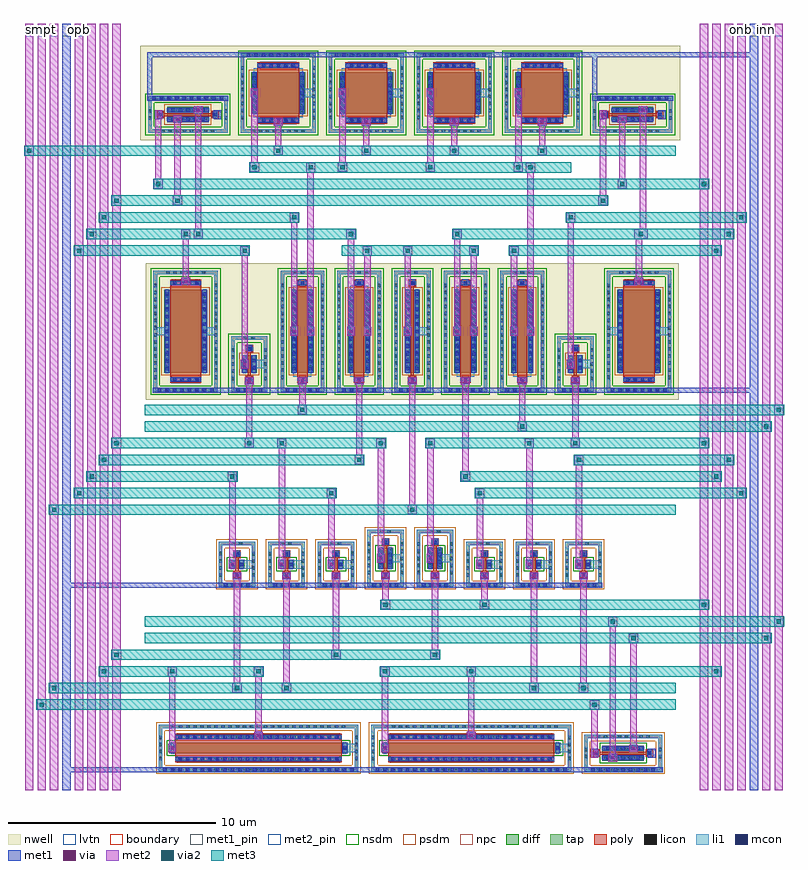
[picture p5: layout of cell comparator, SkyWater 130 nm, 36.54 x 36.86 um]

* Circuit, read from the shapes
.subckt comparator VDPWR VGND clkb inn inp onb opb pbias smpt
XM1 VGND sky130_fd_pr__nfet_01v8_4YP8T4_25/D sky130_fd_pr__nfet_01v8_4YP8T4_25/D VGND sky130_fd_pr__nfet_01v8 w=0.5 l=8
XM2 VGND clkb sky130_fd_pr__nfet_01v8_QX2MQS_21/D VGND sky130_fd_pr__nfet_01v8 w=0.42 l=0.15
XM3 VGND clkb sky130_fd_pr__nfet_01v8_PCU5CH_18/D VGND sky130_fd_pr__nfet_01v8 w=0.42 l=0.15
XM4 VGND sky130_fd_pr__nfet_01v8_PCU5CH_18/D opb VGND sky130_fd_pr__nfet_01v8 w=0.42 l=0.15
XM5 VGND sky130_fd_pr__nfet_01v8_PCU5CH_17/D sky130_fd_pr__nfet_01v8_PCU5CH_18/D VGND sky130_fd_pr__nfet_01v8 w=1 l=0.15
XM6 VGND sky130_fd_pr__nfet_01v8_4YP8T4_24/D sky130_fd_pr__nfet_01v8_4YP8T4_24/D VGND sky130_fd_pr__nfet_01v8 w=0.5 l=8
XM7 VGND sky130_fd_pr__nfet_01v8_PCU5CH_18/D sky130_fd_pr__nfet_01v8_PCU5CH_17/D VGND sky130_fd_pr__nfet_01v8 w=1 l=0.15
XM8 VGND sky130_fd_pr__nfet_01v8_PCU5CH_17/D onb VGND sky130_fd_pr__nfet_01v8 w=0.42 l=0.15
XM9 VGND clkb sky130_fd_pr__nfet_01v8_PCU5CH_17/D VGND sky130_fd_pr__nfet_01v8 w=0.42 l=0.15
XM10 VGND clkb sky130_fd_pr__nfet_01v8_QX2MQS_12/D VGND sky130_fd_pr__nfet_01v8 w=0.42 l=0.15
XM11 inn smpt inp VGND sky130_fd_pr__nfet_01v8 w=2 l=0.15
XM12 sky130_fd_pr__nfet_01v8_QX2MQS_21/D sky130_fd_pr__nfet_01v8_PCU5CH_17/D sky130_fd_pr__nfet_01v8_PCU5CH_18/D VDPWR sky130_fd_pr__pfet_01v8 w=2 l=0.15
XM13 VDPWR sky130_fd_pr__nfet_01v8_QX2MQS_21/D VDPWR VDPWR sky130_fd_pr__pfet_01v8 w=4 l=1.5
XM14 VDPWR sky130_fd_pr__nfet_01v8_PCU5CH_18/D opb VDPWR sky130_fd_pr__pfet_01v8 w=0.84 l=0.15
XM15 VDPWR pbias sky130_fd_pr__pfet_01v8_lvt_HD45KK_0/D VDPWR sky130_fd_pr__pfet_01v8_lvt w=2 l=2 m=4
XM16 sky130_fd_pr__pfet_01v8_lvt_HD45KK_0/D inp sky130_fd_pr__nfet_01v8_4YP8T4_25/D VDPWR sky130_fd_pr__pfet_01v8_lvt w=4 l=0.5
XM17 sky130_fd_pr__pfet_01v8_B6GLM9_16/D sky130_fd_pr__nfet_01v8_4YP8T4_25/D sky130_fd_pr__nfet_01v8_QX2MQS_21/D VDPWR sky130_fd_pr__pfet_01v8_lvt w=4 l=0.5
XM18 VDPWR clkb sky130_fd_pr__pfet_01v8_B6GLM9_16/D VDPWR sky130_fd_pr__pfet_01v8 w=4 l=0.15
XM19 sky130_fd_pr__pfet_01v8_B6GLM9_16/D sky130_fd_pr__nfet_01v8_4YP8T4_24/D sky130_fd_pr__nfet_01v8_QX2MQS_12/D VDPWR sky130_fd_pr__pfet_01v8_lvt w=4 l=0.5
XM20 sky130_fd_pr__pfet_01v8_lvt_HD45KK_0/D inn sky130_fd_pr__nfet_01v8_4YP8T4_24/D VDPWR sky130_fd_pr__pfet_01v8_lvt w=4 l=0.5
XM21 VDPWR sky130_fd_pr__nfet_01v8_PCU5CH_17/D onb VDPWR sky130_fd_pr__pfet_01v8 w=0.84 l=0.15
XM22 sky130_fd_pr__nfet_01v8_QX2MQS_12/D sky130_fd_pr__nfet_01v8_PCU5CH_18/D sky130_fd_pr__nfet_01v8_PCU5CH_17/D VDPWR sky130_fd_pr__pfet_01v8 w=2 l=0.15
XM23 VDPWR sky130_fd_pr__nfet_01v8_QX2MQS_12/D VDPWR VDPWR sky130_fd_pr__pfet_01v8 w=4 l=1.5
.ends

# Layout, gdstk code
from math import pi, radians
import gdstk
lib = gdstk.Library(unit=1e-6, precision=1e-09)
def R(c, l, rs):  # rectangles x0, y0, x1, y1
    for r in rs: c.add(gdstk.rectangle(r[:2], r[2:], *l))
def A(c, l, x, y, w, h, nx, ny, dx, dy):  # array of equal rectangles
    R(c, l, [(x+i*dx, y+j*dy, x+i*dx+w, y+j*dy+h) for i in range(nx) for j in range(ny)])
nwell = (64, 20)
diff = (65, 20)
tap = (65, 44)
poly = (66, 20)
licon = (66, 44)
li1 = (67, 20)
mcon = (67, 44)
met1_pin = (68, 16)
met1 = (68, 20)
via = (68, 44)
met2_pin = (69, 16)
met2 = (69, 20)
via2 = (69, 44)
met3 = (70, 20)
nsdm = (93, 44)
psdm = (94, 20)
npc = (95, 20)
lvtn = (125, 44)
boundary = (235, 4)

sky130_fd_pr__pfet_01v8_ = lib.new_cell('sky130_fd_pr__pfet_01v8_lvt_HD45KK')
R(sky130_fd_pr__pfet_01v8_, nwell, [(-1.98,-2.095,1.98,2.095)])
R(sky130_fd_pr__pfet_01v8_, diff, [(-1.29,-1,1.29,1)])
R(sky130_fd_pr__pfet_01v8_, tap, [(-1.8,-1.915,1.8,-1.745), (-1.8,-1.745,-1.63,1.745), (1.63,-1.745,1.8,1.745), (-1.8,1.745,1.8,1.915)])
R(sky130_fd_pr__pfet_01v8_, poly, [(-1,-1.485,1,1.485)])
A(sky130_fd_pr__pfet_01v8_, licon, -1.275, -1.915, 0.17, 0.17, 8, 2, 0.34, 3.66)
A(sky130_fd_pr__pfet_01v8_, licon, -0.765, -1.405, 0.17, 0.17, 5, 2, 0.34, 2.64)
A(sky130_fd_pr__pfet_01v8_, licon, -1.8, -1.275, 0.17, 0.17, 1, 8, 0, 0.34)
A(sky130_fd_pr__pfet_01v8_, licon, 1.63, -1.275, 0.17, 0.17, 1, 8, 0, 0.34)
A(sky130_fd_pr__pfet_01v8_, licon, -1.23, -0.935, 0.17, 0.17, 1, 6, 0, 0.34)
A(sky130_fd_pr__pfet_01v8_, licon, 1.06, -0.935, 0.17, 0.17, 1, 6, 0, 0.34)
R(sky130_fd_pr__pfet_01v8_, li1, [(-1.8,-1.915,1.8,-1.745), (-1.8,-1.745,-1.63,1.745), (1.63,-1.745,1.8,1.745), (-1,-1.405,1,-1.235), (-1.23,-1.02,-1.06,1.02), (1.06,-1.02,1.23,1.02), (-1,1.235,1,1.405), (-1.8,1.745,1.8,1.915)])
A(sky130_fd_pr__pfet_01v8_, mcon, -0.805, -1.405, 0.17, 0.17, 5, 2, 0.36, 2.64)
A(sky130_fd_pr__pfet_01v8_, mcon, -1.23, -0.805, 0.17, 0.17, 1, 5, 0, 0.36)
A(sky130_fd_pr__pfet_01v8_, mcon, 1.06, -0.805, 0.17, 0.17, 1, 5, 0, 0.36)
A(sky130_fd_pr__pfet_01v8_, mcon, -1.525, 1.745, 0.17, 0.17, 9, 1, 0.36, 0)
R(sky130_fd_pr__pfet_01v8_, met1, [(-0.98,-1.435,0.98,-1.205), (-1.26,-1,-1.03,1), (1.03,-1,1.26,1), (-0.98,1.205,0.98,1.435), (-1.69,1.715,1.69,1.945)])
R(sky130_fd_pr__pfet_01v8_, nsdm, [(-1.925,-2.04,1.925,-1.62), (-1.925,-1.62,-1.505,1.62), (1.505,-1.62,1.925,1.62), (-1.925,1.62,1.925,2.04)])
R(sky130_fd_pr__pfet_01v8_, psdm, [(-1.415,-1.125,1.415,1.125)])
R(sky130_fd_pr__pfet_01v8_, npc, [(-0.865,-1.505,0.865,-1.135), (-0.865,1.135,0.865,1.505)])
R(sky130_fd_pr__pfet_01v8_, lvtn, [(-1.18,-1.18,1.18,1.18)])
R(sky130_fd_pr__pfet_01v8_, boundary, [(-1.715,-1.83,1.715,1.83)])
sky130_fd_pr__pfet_01v8_.add(gdstk.Label('B', (0,-1.83), layer=67, texttype=5))
sky130_fd_pr__pfet_01v8_.add(gdstk.Label('D', (-1.145,0), layer=67, texttype=5))
sky130_fd_pr__pfet_01v8_.add(gdstk.Label('S', (1.145,0), layer=67, texttype=5))
sky130_fd_pr__pfet_01v8_.add(gdstk.Label('G', (0,1.32), layer=67, texttype=5))

c_sky130_fd_pr__pfet_01v8_ = lib.new_cell('sky130_fd_pr__pfet_01v8_3UF8Q8')
R(c_sky130_fd_pr__pfet_01v8_, nwell, [(-1.055,-2.095,1.055,2.095)])
R(c_sky130_fd_pr__pfet_01v8_, diff, [(-0.365,-1,0.365,1)])
R(c_sky130_fd_pr__pfet_01v8_, tap, [(-0.875,-1.915,0.875,-1.745), (-0.875,-1.745,-0.705,1.745), (0.705,-1.745,0.875,1.745), (-0.875,1.745,0.875,1.915)])
R(c_sky130_fd_pr__pfet_01v8_, poly, [(-0.165,-1.485,0.165,-1.155), (-0.075,-1.155,0.075,1.155), (-0.165,1.155,0.165,1.485)])
A(c_sky130_fd_pr__pfet_01v8_, licon, -0.875, -1.275, 0.17, 0.17, 1, 8, 0, 0.34)
A(c_sky130_fd_pr__pfet_01v8_, licon, 0.705, -1.275, 0.17, 0.17, 1, 8, 0, 0.34)
A(c_sky130_fd_pr__pfet_01v8_, licon, -0.305, -0.935, 0.17, 0.17, 1, 6, 0, 0.34)
A(c_sky130_fd_pr__pfet_01v8_, licon, 0.135, -0.935, 0.17, 0.17, 1, 6, 0, 0.34)
R(c_sky130_fd_pr__pfet_01v8_, licon, [(-0.255,-1.915,-0.085,-1.745), (0.085,-1.915,0.255,-1.745), (-0.085,-1.405,0.085,-1.235), (-0.085,1.235,0.085,1.405), (-0.255,1.745,-0.085,1.915), (0.085,1.745,0.255,1.915)])
R(c_sky130_fd_pr__pfet_01v8_, li1, [(-0.875,-1.915,0.875,-1.745), (-0.875,-1.745,-0.705,1.745), (0.705,-1.745,0.875,1.745), (-0.165,-1.405,0.165,-1.235), (-0.305,-1.02,-0.135,1.02), (0.135,-1.02,0.305,1.02), (-0.165,1.235,0.165,1.405), (-0.875,1.745,0.875,1.915)])
A(c_sky130_fd_pr__pfet_01v8_, mcon, 0.705, -1.705, 0.17, 0.17, 1, 10, 0, 0.36)
A(c_sky130_fd_pr__pfet_01v8_, mcon, -0.305, -0.805, 0.17, 0.17, 1, 5, 0, 0.36)
A(c_sky130_fd_pr__pfet_01v8_, mcon, 0.135, -0.805, 0.17, 0.17, 1, 5, 0, 0.36)
R(c_sky130_fd_pr__pfet_01v8_, mcon, [(-0.085,-1.405,0.085,-1.235), (-0.085,1.235,0.085,1.405)])
R(c_sky130_fd_pr__pfet_01v8_, met1, [(0.675,-1.805,0.905,1.805), (-0.145,-1.435,0.145,-1.205), (-0.335,-1,-0.105,1), (0.105,-1,0.335,1), (-0.145,1.205,0.145,1.435)])
R(c_sky130_fd_pr__pfet_01v8_, nsdm, [(-1,-2.04,1,-1.62), (-1,-1.62,-0.58,1.62), (0.58,-1.62,1,1.62), (-1,1.62,1,2.04)])
R(c_sky130_fd_pr__pfet_01v8_, psdm, [(-0.49,-1.125,0.49,1.125)])
R(c_sky130_fd_pr__pfet_01v8_, npc, [(-0.185,-1.505,0.185,-1.135), (-0.185,1.135,0.185,1.505)])
R(c_sky130_fd_pr__pfet_01v8_, boundary, [(-0.79,-1.83,0.79,1.83)])
c_sky130_fd_pr__pfet_01v8_.add(gdstk.Label('B', (0,-1.83), layer=67, texttype=5))
c_sky130_fd_pr__pfet_01v8_.add(gdstk.Label('D', (-0.22,0), layer=67, texttype=5))
c_sky130_fd_pr__pfet_01v8_.add(gdstk.Label('S', (0.22,0), layer=67, texttype=5))
c_sky130_fd_pr__pfet_01v8_.add(gdstk.Label('G', (0,1.32), layer=67, texttype=5))

c_sky130_fd_pr__pfet_01v8__ = lib.new_cell('sky130_fd_pr__pfet_01v8_lvt_QTCP4L')
R(c_sky130_fd_pr__pfet_01v8__, nwell, [(-1.23,-3.095,1.23,3.095)])
R(c_sky130_fd_pr__pfet_01v8__, diff, [(-0.54,-2,0.54,2)])
R(c_sky130_fd_pr__pfet_01v8__, tap, [(-1.05,-2.915,1.05,-2.745), (-1.05,-2.745,-0.88,2.745), (0.88,-2.745,1.05,2.745), (-1.05,2.745,1.05,2.915)])
R(c_sky130_fd_pr__pfet_01v8__, poly, [(-0.25,-2.485,0.25,2.485)])
A(c_sky130_fd_pr__pfet_01v8__, licon, -0.425, -2.915, 0.17, 0.17, 3, 2, 0.34, 5.66)
A(c_sky130_fd_pr__pfet_01v8__, licon, -1.05, -2.295, 0.17, 0.17, 1, 14, 0, 0.34)
A(c_sky130_fd_pr__pfet_01v8__, licon, 0.88, -2.295, 0.17, 0.17, 1, 14, 0, 0.34)
A(c_sky130_fd_pr__pfet_01v8__, licon, -0.48, -1.785, 0.17, 0.17, 1, 11, 0, 0.34)
A(c_sky130_fd_pr__pfet_01v8__, licon, 0.31, -1.785, 0.17, 0.17, 1, 11, 0, 0.34)
R(c_sky130_fd_pr__pfet_01v8__, licon, [(-0.085,-2.405,0.085,-2.235), (-0.085,2.235,0.085,2.405)])
R(c_sky130_fd_pr__pfet_01v8__, li1, [(-1.05,-2.915,1.05,-2.745), (-1.05,-2.745,-0.88,2.745), (0.88,-2.745,1.05,2.745), (-0.25,-2.405,0.25,-2.235), (-0.48,-2.02,-0.31,2.02), (0.31,-2.02,0.48,2.02), (-0.25,2.235,0.25,2.405), (-1.05,2.745,1.05,2.915)])
A(c_sky130_fd_pr__pfet_01v8__, mcon, -0.805, -2.915, 0.17, 0.17, 5, 1, 0.36, 0)
A(c_sky130_fd_pr__pfet_01v8__, mcon, -0.48, -1.885, 0.17, 0.17, 1, 11, 0, 0.36)
A(c_sky130_fd_pr__pfet_01v8__, mcon, 0.31, -1.885, 0.17, 0.17, 1, 11, 0, 0.36)
R(c_sky130_fd_pr__pfet_01v8__, mcon, [(-0.085,-2.405,0.085,-2.235), (-0.085,2.235,0.085,2.405)])
R(c_sky130_fd_pr__pfet_01v8__, met1, [(-0.94,-2.945,0.94,-2.715), (-0.23,-2.435,0.23,-2.205), (-0.51,-2,-0.28,2), (0.28,-2,0.51,2), (-0.23,2.205,0.23,2.435)])
R(c_sky130_fd_pr__pfet_01v8__, nsdm, [(-1.175,-3.04,1.175,-2.62), (-1.175,-2.62,-0.755,2.62), (0.755,-2.62,1.175,2.62), (-1.175,2.62,1.175,3.04)])
R(c_sky130_fd_pr__pfet_01v8__, psdm, [(-0.665,-2.125,0.665,2.125)])
R(c_sky130_fd_pr__pfet_01v8__, npc, [(-0.185,-2.505,0.185,-2.135), (-0.185,2.135,0.185,2.505)])
R(c_sky130_fd_pr__pfet_01v8__, lvtn, [(-0.43,-2.18,0.43,2.18)])
R(c_sky130_fd_pr__pfet_01v8__, boundary, [(-0.965,-2.83,0.965,2.83)])
c_sky130_fd_pr__pfet_01v8__.add(gdstk.Label('B', (0,-2.83), layer=67, texttype=5))
c_sky130_fd_pr__pfet_01v8__.add(gdstk.Label('D', (-0.395,0), layer=67, texttype=5))
c_sky130_fd_pr__pfet_01v8__.add(gdstk.Label('S', (0.395,0), layer=67, texttype=5))
c_sky130_fd_pr__pfet_01v8__.add(gdstk.Label('G', (0,2.32), layer=67, texttype=5))

c_sky130_fd_pr__pfet_01v8___ = lib.new_cell('sky130_fd_pr__pfet_01v8_GDFBW8')
R(c_sky130_fd_pr__pfet_01v8___, nwell, [(-1.055,-1.515,1.055,1.515)])
R(c_sky130_fd_pr__pfet_01v8___, diff, [(-0.365,-0.42,0.365,0.42)])
R(c_sky130_fd_pr__pfet_01v8___, tap, [(-0.875,-1.335,0.875,-1.165), (-0.875,-1.165,-0.705,1.165), (0.705,-1.165,0.875,1.165), (-0.875,1.165,0.875,1.335)])
R(c_sky130_fd_pr__pfet_01v8___, poly, [(-0.165,-0.905,0.165,-0.575), (-0.075,-0.575,0.075,0.575), (-0.165,0.575,0.165,0.905)])
A(c_sky130_fd_pr__pfet_01v8___, licon, -0.875, -0.765, 0.17, 0.17, 1, 5, 0, 0.34)
A(c_sky130_fd_pr__pfet_01v8___, licon, 0.705, -0.765, 0.17, 0.17, 1, 5, 0, 0.34)
R(c_sky130_fd_pr__pfet_01v8___, licon, [(-0.255,-1.335,-0.085,-1.165), (0.085,-1.335,0.255,-1.165), (-0.085,-0.825,0.085,-0.655), (-0.305,-0.255,-0.135,-0.085), (0.135,-0.255,0.305,-0.085), (-0.305,0.085,-0.135,0.255), (0.135,0.085,0.305,0.255), (-0.085,0.655,0.085,0.825), (-0.255,1.165,-0.085,1.335), (0.085,1.165,0.255,1.335)])
R(c_sky130_fd_pr__pfet_01v8___, li1, [(-0.875,-1.335,0.875,-1.165), (-0.875,-1.165,-0.705,1.165), (0.705,-1.165,0.875,1.165), (-0.165,-0.825,0.165,-0.655), (-0.305,-0.44,-0.135,0.44), (0.135,-0.44,0.305,0.44), (-0.165,0.655,0.165,0.825), (-0.875,1.165,0.875,1.335)])
A(c_sky130_fd_pr__pfet_01v8___, mcon, -0.625, -1.335, 0.17, 0.17, 4, 1, 0.36, 0)
R(c_sky130_fd_pr__pfet_01v8___, mcon, [(-0.085,-0.825,0.085,-0.655), (-0.305,-0.265,-0.135,-0.095), (0.135,-0.265,0.305,-0.095), (-0.305,0.095,-0.135,0.265), (0.135,0.095,0.305,0.265), (-0.085,0.655,0.085,0.825)])
R(c_sky130_fd_pr__pfet_01v8___, met1, [(-0.765,-1.365,0.765,-1.135), (-0.145,-0.855,0.145,-0.625), (-0.335,-0.42,-0.105,0.42), (0.105,-0.42,0.335,0.42), (-0.145,0.625,0.145,0.855)])
R(c_sky130_fd_pr__pfet_01v8___, nsdm, [(-1,-1.46,1,-1.04), (-1,-1.04,-0.58,1.04), (0.58,-1.04,1,1.04), (-1,1.04,1,1.46)])
R(c_sky130_fd_pr__pfet_01v8___, psdm, [(-0.49,-0.545,0.49,0.545)])
R(c_sky130_fd_pr__pfet_01v8___, npc, [(-0.185,-0.925,0.185,-0.555), (-0.185,0.555,0.185,0.925)])
R(c_sky130_fd_pr__pfet_01v8___, boundary, [(-0.79,-1.25,0.79,1.25)])
c_sky130_fd_pr__pfet_01v8___.add(gdstk.Label('B', (0,-1.25), layer=67, texttype=5))
c_sky130_fd_pr__pfet_01v8___.add(gdstk.Label('D', (-0.22,0), layer=67, texttype=5))
c_sky130_fd_pr__pfet_01v8___.add(gdstk.Label('S', (0.22,0), layer=67, texttype=5))
c_sky130_fd_pr__pfet_01v8___.add(gdstk.Label('G', (0,0.74), layer=67, texttype=5))

c_sky130_fd_pr__pfet_01v8____ = lib.new_cell('sky130_fd_pr__pfet_01v8_C364Q2')
R(c_sky130_fd_pr__pfet_01v8____, nwell, [(-1.73,-3.095,1.73,3.095)])
R(c_sky130_fd_pr__pfet_01v8____, diff, [(-1.04,-2,1.04,2)])
R(c_sky130_fd_pr__pfet_01v8____, tap, [(-1.55,-2.915,1.55,-2.745), (-1.55,-2.745,-1.38,2.745), (1.38,-2.745,1.55,2.745), (-1.55,2.745,1.55,2.915)])
R(c_sky130_fd_pr__pfet_01v8____, poly, [(-0.75,-2.485,0.75,2.485)])
A(c_sky130_fd_pr__pfet_01v8____, licon, -0.935, -2.915, 0.17, 0.17, 6, 2, 0.34, 5.66)
A(c_sky130_fd_pr__pfet_01v8____, licon, -0.595, -2.405, 0.17, 0.17, 4, 2, 0.34, 4.64)
A(c_sky130_fd_pr__pfet_01v8____, licon, -1.55, -2.295, 0.17, 0.17, 1, 14, 0, 0.34)
A(c_sky130_fd_pr__pfet_01v8____, licon, 1.38, -2.295, 0.17, 0.17, 1, 14, 0, 0.34)
A(c_sky130_fd_pr__pfet_01v8____, licon, -0.98, -1.785, 0.17, 0.17, 1, 11, 0, 0.34)
A(c_sky130_fd_pr__pfet_01v8____, licon, 0.81, -1.785, 0.17, 0.17, 1, 11, 0, 0.34)
R(c_sky130_fd_pr__pfet_01v8____, li1, [(-1.55,-2.915,1.55,-2.745), (-1.55,-2.745,-1.38,2.745), (1.38,-2.745,1.55,2.745), (-0.75,-2.405,0.75,-2.235), (-0.98,-2.02,-0.81,2.02), (0.81,-2.02,0.98,2.02), (-0.75,2.235,0.75,2.405), (-1.55,2.745,1.55,2.915)])
A(c_sky130_fd_pr__pfet_01v8____, mcon, -1.345, -2.915, 0.17, 0.17, 8, 1, 0.36, 0)
A(c_sky130_fd_pr__pfet_01v8____, mcon, -0.625, -2.405, 0.17, 0.17, 4, 2, 0.36, 4.64)
A(c_sky130_fd_pr__pfet_01v8____, mcon, -0.98, -1.885, 0.17, 0.17, 1, 11, 0, 0.36)
A(c_sky130_fd_pr__pfet_01v8____, mcon, 0.81, -1.885, 0.17, 0.17, 1, 11, 0, 0.36)
R(c_sky130_fd_pr__pfet_01v8____, met1, [(-1.44,-2.945,1.44,-2.715), (-0.73,-2.435,0.73,-2.205), (-1.01,-2,-0.78,2), (0.78,-2,1.01,2), (-0.73,2.205,0.73,2.435)])
R(c_sky130_fd_pr__pfet_01v8____, nsdm, [(-1.675,-3.04,1.675,-2.62), (-1.675,-2.62,-1.255,2.62), (1.255,-2.62,1.675,2.62), (-1.675,2.62,1.675,3.04)])
R(c_sky130_fd_pr__pfet_01v8____, psdm, [(-1.165,-2.125,1.165,2.125)])
R(c_sky130_fd_pr__pfet_01v8____, npc, [(-0.695,-2.505,0.695,-2.135), (-0.695,2.135,0.695,2.505)])
R(c_sky130_fd_pr__pfet_01v8____, boundary, [(-1.465,-2.83,1.465,2.83)])
c_sky130_fd_pr__pfet_01v8____.add(gdstk.Label('B', (0,-2.83), layer=67, texttype=5))
c_sky130_fd_pr__pfet_01v8____.add(gdstk.Label('D', (-0.895,0), layer=67, texttype=5))
c_sky130_fd_pr__pfet_01v8____.add(gdstk.Label('S', (0.895,0), layer=67, texttype=5))
c_sky130_fd_pr__pfet_01v8____.add(gdstk.Label('G', (0,2.32), layer=67, texttype=5))

sky130_fd_pr__nfet_01v8_ = lib.new_cell('sky130_fd_pr__nfet_01v8_QX2MQS')
R(sky130_fd_pr__nfet_01v8_, diff, [(-0.365,-0.21,0.365,0.21)])
R(sky130_fd_pr__nfet_01v8_, tap, [(-0.875,-1.08,0.875,-0.91), (-0.875,-0.91,-0.705,0.91), (0.705,-0.91,0.875,0.91), (-0.875,0.91,0.875,1.08)])
R(sky130_fd_pr__nfet_01v8_, poly, [(-0.165,-0.65,0.165,-0.32), (-0.075,-0.32,0.075,0.32), (-0.165,0.32,0.165,0.65)])
A(sky130_fd_pr__nfet_01v8_, licon, -0.875, -0.595, 0.17, 0.17, 1, 4, 0, 0.34)
A(sky130_fd_pr__nfet_01v8_, licon, 0.705, -0.595, 0.17, 0.17, 1, 4, 0, 0.34)
R(sky130_fd_pr__nfet_01v8_, licon, [(-0.255,-1.08,-0.085,-0.91), (0.085,-1.08,0.255,-0.91), (-0.085,-0.57,0.085,-0.4), (-0.305,-0.085,-0.135,0.085), (0.135,-0.085,0.305,0.085), (-0.085,0.4,0.085,0.57), (-0.255,0.91,-0.085,1.08), (0.085,0.91,0.255,1.08)])
R(sky130_fd_pr__nfet_01v8_, li1, [(-0.875,-1.08,0.875,-0.91), (-0.875,-0.91,-0.705,0.91), (0.705,-0.91,0.875,0.91), (-0.165,-0.57,0.165,-0.4), (-0.305,-0.23,-0.135,0.23), (0.135,-0.23,0.305,0.23), (-0.165,0.4,0.165,0.57), (-0.875,0.91,0.875,1.08)])
A(sky130_fd_pr__nfet_01v8_, mcon, -0.625, -1.08, 0.17, 0.17, 4, 1, 0.36, 0)
R(sky130_fd_pr__nfet_01v8_, mcon, [(-0.085,-0.57,0.085,-0.4), (-0.305,-0.085,-0.135,0.085), (0.135,-0.085,0.305,0.085), (-0.085,0.4,0.085,0.57)])
R(sky130_fd_pr__nfet_01v8_, met1, [(-0.765,-1.11,0.765,-0.88), (-0.145,-0.6,0.145,-0.37), (-0.335,-0.21,-0.105,0.21), (0.105,-0.21,0.335,0.21), (-0.145,0.37,0.145,0.6)])
R(sky130_fd_pr__nfet_01v8_, nsdm, [(-0.49,-0.335,0.49,0.335)])
R(sky130_fd_pr__nfet_01v8_, psdm, [(-1,-1.205,1,-0.785), (-1,-0.785,-0.58,0.785), (0.58,-0.785,1,0.785), (-1,0.785,1,1.205)])
R(sky130_fd_pr__nfet_01v8_, npc, [(-0.185,-0.67,0.185,-0.3), (-0.185,0.3,0.185,0.67)])
R(sky130_fd_pr__nfet_01v8_, boundary, [(-0.79,-0.995,0.79,0.995)])
sky130_fd_pr__nfet_01v8_.add(gdstk.Label('B', (0,-0.995), layer=67, texttype=5))
sky130_fd_pr__nfet_01v8_.add(gdstk.Label('D', (-0.22,0), layer=67, texttype=5))
sky130_fd_pr__nfet_01v8_.add(gdstk.Label('S', (0.22,0), layer=67, texttype=5))
sky130_fd_pr__nfet_01v8_.add(gdstk.Label('G', (0,0.485), layer=67, texttype=5))

c_sky130_fd_pr__pfet_01v8_____ = lib.new_cell('sky130_fd_pr__pfet_01v8_B6GLM9')
R(c_sky130_fd_pr__pfet_01v8_____, nwell, [(-1.055,-3.095,1.055,3.095)])
R(c_sky130_fd_pr__pfet_01v8_____, diff, [(-0.365,-2,0.365,2)])
R(c_sky130_fd_pr__pfet_01v8_____, tap, [(-0.875,-2.915,0.875,-2.745), (-0.875,-2.745,-0.705,2.745), (0.705,-2.745,0.875,2.745), (-0.875,2.745,0.875,2.915)])
R(c_sky130_fd_pr__pfet_01v8_____, poly, [(-0.165,-2.485,0.165,-2.155), (-0.075,-2.155,0.075,2.155), (-0.165,2.155,0.165,2.485)])
A(c_sky130_fd_pr__pfet_01v8_____, licon, -0.875, -2.295, 0.17, 0.17, 1, 14, 0, 0.34)
A(c_sky130_fd_pr__pfet_01v8_____, licon, 0.705, -2.295, 0.17, 0.17, 1, 14, 0, 0.34)
A(c_sky130_fd_pr__pfet_01v8_____, licon, -0.305, -1.785, 0.17, 0.17, 1, 11, 0, 0.34)
A(c_sky130_fd_pr__pfet_01v8_____, licon, 0.135, -1.785, 0.17, 0.17, 1, 11, 0, 0.34)
R(c_sky130_fd_pr__pfet_01v8_____, licon, [(-0.255,-2.915,-0.085,-2.745), (0.085,-2.915,0.255,-2.745), (-0.085,-2.405,0.085,-2.235), (-0.085,2.235,0.085,2.405), (-0.255,2.745,-0.085,2.915), (0.085,2.745,0.255,2.915)])
R(c_sky130_fd_pr__pfet_01v8_____, li1, [(-0.875,-2.915,0.875,-2.745), (-0.875,-2.745,-0.705,2.745), (0.705,-2.745,0.875,2.745), (-0.165,-2.405,0.165,-2.235), (-0.305,-2.02,-0.135,2.02), (0.135,-2.02,0.305,2.02), (-0.165,2.235,0.165,2.405), (-0.875,2.745,0.875,2.915)])
A(c_sky130_fd_pr__pfet_01v8_____, mcon, -0.625, -2.915, 0.17, 0.17, 4, 1, 0.36, 0)
A(c_sky130_fd_pr__pfet_01v8_____, mcon, -0.305, -1.885, 0.17, 0.17, 1, 11, 0, 0.36)
A(c_sky130_fd_pr__pfet_01v8_____, mcon, 0.135, -1.885, 0.17, 0.17, 1, 11, 0, 0.36)
R(c_sky130_fd_pr__pfet_01v8_____, mcon, [(-0.085,-2.405,0.085,-2.235), (-0.085,2.235,0.085,2.405)])
R(c_sky130_fd_pr__pfet_01v8_____, met1, [(-0.765,-2.945,0.765,-2.715), (-0.145,-2.435,0.145,-2.205), (-0.335,-2,-0.105,2), (0.105,-2,0.335,2), (-0.145,2.205,0.145,2.435)])
R(c_sky130_fd_pr__pfet_01v8_____, nsdm, [(-1,-3.04,1,-2.62), (-1,-2.62,-0.58,2.62), (0.58,-2.62,1,2.62), (-1,2.62,1,3.04)])
R(c_sky130_fd_pr__pfet_01v8_____, psdm, [(-0.49,-2.125,0.49,2.125)])
R(c_sky130_fd_pr__pfet_01v8_____, npc, [(-0.185,-2.505,0.185,-2.135), (-0.185,2.135,0.185,2.505)])
R(c_sky130_fd_pr__pfet_01v8_____, boundary, [(-0.79,-2.83,0.79,2.83)])
c_sky130_fd_pr__pfet_01v8_____.add(gdstk.Label('B', (0,-2.83), layer=67, texttype=5))
c_sky130_fd_pr__pfet_01v8_____.add(gdstk.Label('D', (-0.22,0), layer=67, texttype=5))
c_sky130_fd_pr__pfet_01v8_____.add(gdstk.Label('S', (0.22,0), layer=67, texttype=5))
c_sky130_fd_pr__pfet_01v8_____.add(gdstk.Label('G', (0,2.32), layer=67, texttype=5))

c_sky130_fd_pr__nfet_01v8_ = lib.new_cell('sky130_fd_pr__nfet_01v8_PCU5CH')
R(c_sky130_fd_pr__nfet_01v8_, diff, [(-0.365,-0.5,0.365,0.5)])
R(c_sky130_fd_pr__nfet_01v8_, tap, [(-0.875,-1.37,0.875,-1.2), (-0.875,-1.2,-0.705,1.2), (0.705,-1.2,0.875,1.2), (-0.875,1.2,0.875,1.37)])
R(c_sky130_fd_pr__nfet_01v8_, poly, [(-0.165,-0.94,0.165,-0.61), (-0.075,-0.61,0.075,0.61), (-0.165,0.61,0.165,0.94)])
A(c_sky130_fd_pr__nfet_01v8_, licon, -0.875, -0.765, 0.17, 0.17, 1, 5, 0, 0.34)
A(c_sky130_fd_pr__nfet_01v8_, licon, 0.705, -0.765, 0.17, 0.17, 1, 5, 0, 0.34)
A(c_sky130_fd_pr__nfet_01v8_, licon, -0.305, -0.425, 0.17, 0.17, 1, 3, 0, 0.34)
A(c_sky130_fd_pr__nfet_01v8_, licon, 0.135, -0.425, 0.17, 0.17, 1, 3, 0, 0.34)
R(c_sky130_fd_pr__nfet_01v8_, licon, [(-0.255,-1.37,-0.085,-1.2), (0.085,-1.37,0.255,-1.2), (-0.085,-0.86,0.085,-0.69), (-0.085,0.69,0.085,0.86), (-0.255,1.2,-0.085,1.37), (0.085,1.2,0.255,1.37)])
R(c_sky130_fd_pr__nfet_01v8_, li1, [(-0.875,-1.37,0.875,-1.2), (-0.875,-1.2,-0.705,1.2), (0.705,-1.2,0.875,1.2), (-0.165,-0.86,0.165,-0.69), (-0.305,-0.52,-0.135,0.52), (0.135,-0.52,0.305,0.52), (-0.165,0.69,0.165,0.86), (-0.875,1.2,0.875,1.37)])
A(c_sky130_fd_pr__nfet_01v8_, mcon, -0.625, -1.37, 0.17, 0.17, 4, 1, 0.36, 0)
R(c_sky130_fd_pr__nfet_01v8_, mcon, [(-0.085,-0.86,0.085,-0.69), (-0.305,-0.265,-0.135,-0.095), (0.135,-0.265,0.305,-0.095), (-0.305,0.095,-0.135,0.265), (0.135,0.095,0.305,0.265), (-0.085,0.69,0.085,0.86)])
R(c_sky130_fd_pr__nfet_01v8_, met1, [(-0.765,-1.4,0.765,-1.17), (-0.145,-0.89,0.145,-0.66), (-0.335,-0.5,-0.105,0.5), (0.105,-0.5,0.335,0.5), (-0.145,0.66,0.145,0.89)])
R(c_sky130_fd_pr__nfet_01v8_, nsdm, [(-0.49,-0.625,0.49,0.625)])
R(c_sky130_fd_pr__nfet_01v8_, psdm, [(-1,-1.495,1,-1.075), (-1,-1.075,-0.58,1.075), (0.58,-1.075,1,1.075), (-1,1.075,1,1.495)])
R(c_sky130_fd_pr__nfet_01v8_, npc, [(-0.185,-0.96,0.185,-0.59), (-0.185,0.59,0.185,0.96)])
R(c_sky130_fd_pr__nfet_01v8_, boundary, [(-0.79,-1.285,0.79,1.285)])
c_sky130_fd_pr__nfet_01v8_.add(gdstk.Label('B', (0,-1.285), layer=67, texttype=5))
c_sky130_fd_pr__nfet_01v8_.add(gdstk.Label('D', (-0.22,0), layer=67, texttype=5))
c_sky130_fd_pr__nfet_01v8_.add(gdstk.Label('S', (0.22,0), layer=67, texttype=5))
c_sky130_fd_pr__nfet_01v8_.add(gdstk.Label('G', (0,0.775), layer=67, texttype=5))

c_sky130_fd_pr__nfet_01v8__ = lib.new_cell('sky130_fd_pr__nfet_01v8_QR6K5J')
R(c_sky130_fd_pr__nfet_01v8__, diff, [(-0.365,-1,0.365,1)])
R(c_sky130_fd_pr__nfet_01v8__, tap, [(-0.875,-1.87,0.875,-1.7), (-0.875,-1.7,-0.705,1.7), (0.705,-1.7,0.875,1.7), (-0.875,1.7,0.875,1.87)])
R(c_sky130_fd_pr__nfet_01v8__, poly, [(-0.165,-1.44,0.165,-1.11), (-0.075,-1.11,0.075,1.11), (-0.165,1.11,0.165,1.44)])
A(c_sky130_fd_pr__nfet_01v8__, licon, -0.875, -1.275, 0.17, 0.17, 1, 8, 0, 0.34)
A(c_sky130_fd_pr__nfet_01v8__, licon, 0.705, -1.275, 0.17, 0.17, 1, 8, 0, 0.34)
A(c_sky130_fd_pr__nfet_01v8__, licon, -0.305, -0.935, 0.17, 0.17, 1, 6, 0, 0.34)
A(c_sky130_fd_pr__nfet_01v8__, licon, 0.135, -0.935, 0.17, 0.17, 1, 6, 0, 0.34)
R(c_sky130_fd_pr__nfet_01v8__, licon, [(-0.255,-1.87,-0.085,-1.7), (0.085,-1.87,0.255,-1.7), (-0.085,-1.36,0.085,-1.19), (-0.085,1.19,0.085,1.36), (-0.255,1.7,-0.085,1.87), (0.085,1.7,0.255,1.87)])
R(c_sky130_fd_pr__nfet_01v8__, li1, [(-0.875,-1.87,0.875,-1.7), (-0.875,-1.7,-0.705,1.7), (0.705,-1.7,0.875,1.7), (-0.165,-1.36,0.165,-1.19), (-0.305,-1.02,-0.135,1.02), (0.135,-1.02,0.305,1.02), (-0.165,1.19,0.165,1.36), (-0.875,1.7,0.875,1.87)])
A(c_sky130_fd_pr__nfet_01v8__, mcon, -0.875, -1.525, 0.17, 0.17, 1, 9, 0, 0.36)
A(c_sky130_fd_pr__nfet_01v8__, mcon, -0.305, -0.805, 0.17, 0.17, 1, 5, 0, 0.36)
A(c_sky130_fd_pr__nfet_01v8__, mcon, 0.135, -0.805, 0.17, 0.17, 1, 5, 0, 0.36)
R(c_sky130_fd_pr__nfet_01v8__, mcon, [(-0.085,-1.36,0.085,-1.19), (-0.085,1.19,0.085,1.36)])
R(c_sky130_fd_pr__nfet_01v8__, met1, [(-0.905,-1.76,-0.675,1.76), (-0.145,-1.39,0.145,-1.16), (-0.335,-1,-0.105,1), (0.105,-1,0.335,1), (-0.145,1.16,0.145,1.39)])
R(c_sky130_fd_pr__nfet_01v8__, nsdm, [(-0.49,-1.125,0.49,1.125)])
R(c_sky130_fd_pr__nfet_01v8__, psdm, [(-1,-1.995,1,-1.575), (-1,-1.575,-0.58,1.575), (0.58,-1.575,1,1.575), (-1,1.575,1,1.995)])
R(c_sky130_fd_pr__nfet_01v8__, npc, [(-0.185,-1.46,0.185,-1.09), (-0.185,1.09,0.185,1.46)])
R(c_sky130_fd_pr__nfet_01v8__, boundary, [(-0.79,-1.785,0.79,1.785)])
c_sky130_fd_pr__nfet_01v8__.add(gdstk.Label('B', (0,-1.785), layer=67, texttype=5))
c_sky130_fd_pr__nfet_01v8__.add(gdstk.Label('D', (-0.22,0), layer=67, texttype=5))
c_sky130_fd_pr__nfet_01v8__.add(gdstk.Label('S', (0.22,0), layer=67, texttype=5))
c_sky130_fd_pr__nfet_01v8__.add(gdstk.Label('G', (0,1.275), layer=67, texttype=5))

c_sky130_fd_pr__nfet_01v8___ = lib.new_cell('sky130_fd_pr__nfet_01v8_4YP8T4')
R(c_sky130_fd_pr__nfet_01v8___, diff, [(-4.29,-0.25,4.29,0.25)])
R(c_sky130_fd_pr__nfet_01v8___, tap, [(-4.8,-1.12,4.8,-0.95), (-4.8,-0.95,-4.63,0.95), (4.63,-0.95,4.8,0.95), (-4.8,0.95,4.8,1.12)])
R(c_sky130_fd_pr__nfet_01v8___, poly, [(-4,-0.69,4,0.69)])
A(c_sky130_fd_pr__nfet_01v8___, licon, -4.165, -1.12, 0.17, 0.17, 25, 2, 0.34, 2.07)
A(c_sky130_fd_pr__nfet_01v8___, licon, -3.825, -0.61, 0.17, 0.17, 23, 2, 0.34, 1.05)
A(c_sky130_fd_pr__nfet_01v8___, licon, -4.8, -0.595, 0.17, 0.17, 1, 4, 0, 0.34)
A(c_sky130_fd_pr__nfet_01v8___, licon, 4.63, -0.595, 0.17, 0.17, 1, 4, 0, 0.34)
R(c_sky130_fd_pr__nfet_01v8___, licon, [(-4.23,-0.085,-4.06,0.085), (4.06,-0.085,4.23,0.085)])
R(c_sky130_fd_pr__nfet_01v8___, li1, [(-4.8,-1.12,4.8,-0.95), (-4.8,-0.95,-4.63,0.95), (4.63,-0.95,4.8,0.95), (-4,-0.61,4,-0.44), (-4.23,-0.27,-4.06,0.27), (4.06,-0.27,4.23,0.27), (-4,0.44,4,0.61), (-4.8,0.95,4.8,1.12)])
A(c_sky130_fd_pr__nfet_01v8___, mcon, -4.585, -1.12, 0.17, 0.17, 26, 1, 0.36, 0)
A(c_sky130_fd_pr__nfet_01v8___, mcon, -3.865, -0.61, 0.17, 0.17, 22, 2, 0.36, 1.05)
R(c_sky130_fd_pr__nfet_01v8___, mcon, [(-4.23,-0.085,-4.06,0.085), (4.06,-0.085,4.23,0.085)])
R(c_sky130_fd_pr__nfet_01v8___, met1, [(-4.69,-1.15,4.69,-0.92), (-3.98,-0.64,3.98,-0.41), (-4.26,-0.25,-4.03,0.25), (4.03,-0.25,4.26,0.25), (-3.98,0.41,3.98,0.64)])
R(c_sky130_fd_pr__nfet_01v8___, nsdm, [(-4.415,-0.375,4.415,0.375)])
R(c_sky130_fd_pr__nfet_01v8___, psdm, [(-4.925,-1.245,4.925,-0.825), (-4.925,-0.825,-4.505,0.825), (4.505,-0.825,4.925,0.825), (-4.925,0.825,4.925,1.245)])
R(c_sky130_fd_pr__nfet_01v8___, npc, [(-3.925,-0.71,3.925,-0.34), (-3.925,0.34,3.925,0.71)])
R(c_sky130_fd_pr__nfet_01v8___, boundary, [(-4.715,-1.035,4.715,1.035)])
c_sky130_fd_pr__nfet_01v8___.add(gdstk.Label('B', (0,-1.035), layer=67, texttype=5))
c_sky130_fd_pr__nfet_01v8___.add(gdstk.Label('D', (-4.145,0), layer=67, texttype=5))
c_sky130_fd_pr__nfet_01v8___.add(gdstk.Label('S', (4.145,0), layer=67, texttype=5))
c_sky130_fd_pr__nfet_01v8___.add(gdstk.Label('G', (0,0.525), layer=67, texttype=5))

comparator = lib.new_cell('comparator')
R(comparator, nwell, [(-0.19,17.79,25.43,24.35), (-0.45,30.25,25.49,34.81)])
A(comparator, li1, 4.325, 9.665, 0.74, 0.4, 3, 1, 2.38, 0)
A(comparator, li1, 16.225, 9.665, 0.74, 0.4, 3, 1, 2.38, 0)
A(comparator, li1, 7.235, 32.33, 0.74, 0.4, 4, 1, 4.23, 0)
R(comparator, li1, [(9.285,0.835,10.025,1.235), (19.515,0.835,20.255,1.235), (11.465,9.955,12.205,10.355), (13.845,9.955,14.585,10.355), (4.915,19.29,5.655,19.69), (20.595,19.29,21.335,19.69), (0.175,20.87,0.915,21.27), (2.535,20.87,3.275,21.27), (12.755,20.87,13.495,21.27), (21.965,20.87,22.705,21.27), (24.325,20.87,25.065,21.27)])
R(comparator, met1_pin, [(-4.2,35.26,-3.8,35.86), (28.84,35.26,29.24,35.86)])
A(comparator, met1, 3.975, 9.15, 0.43, 0.32, 8, 1, 2.38, 0)
A(comparator, met1, 3.785, 9.65, 0.37, 0.43, 3, 1, 2.38, 0)
A(comparator, met1, 15.685, 9.65, 0.37, 0.43, 3, 1, 2.38, 0)
A(comparator, met1, 4.045, 10.235, 0.29, 0.29, 3, 1, 2.38, 0)
A(comparator, met1, 15.945, 10.235, 0.29, 0.29, 3, 1, 2.38, 0)
A(comparator, met1, 9.85, 18.52, 0.43, 0.32, 3, 1, 2.555, 0)
A(comparator, met1, 9.92, 23.275, 0.29, 0.29, 3, 1, 2.555, 0)
A(comparator, met1, 5.96, 30.955, 0.43, 0.37, 4, 1, 4.23, 0)
A(comparator, met1, 4.845, 32.315, 0.37, 0.43, 4, 1, 4.23, 0)
R(comparator, met1, [(-4.2,-1,-3.8,-0.12), (28.84,-1,29.24,18.12), (-4.2,-0.12,24.66,0.12), (-4.2,0.12,-3.8,8.75), (22.04,0.385,22.47,0.755), (21.195,0.575,21.565,1.005), (23.945,0.575,24.315,1.005), (0.895,0.82,1.265,1.25), (11.125,0.82,11.495,1.25), (23.04,0.825,23.47,1.195), (5.01,1.445,5.44,1.815), (15.24,1.445,15.67,1.815), (-4.2,8.75,21.76,8.99), (-4.2,8.99,-3.8,35.86), (10.925,9.94,11.295,10.37), (13.305,9.94,13.675,10.37), (11.185,10.815,11.475,11.105), (13.565,10.815,13.855,11.105), (0.14,18.12,29.24,18.36), (28.84,18.36,29.24,34.24), (4.565,18.52,4.995,18.84), (7.12,18.52,7.55,18.84), (17.69,18.52,18.12,18.84), (20.245,18.52,20.675,18.84), (4.375,19.275,4.745,19.705), (20.055,19.275,20.425,19.705), (4.635,20.115,4.925,20.405), (20.315,20.115,20.605,20.405), (6.755,20.855,7.125,21.285), (7.545,20.855,7.915,21.285), (9.485,20.855,9.855,21.285), (10.275,20.855,10.645,21.285), (12.215,20.855,12.585,21.285), (14.595,20.855,14.965,21.285), (15.385,20.855,15.755,21.285), (17.325,20.855,17.695,21.285), (18.115,20.855,18.485,21.285), (1.51,23.275,1.94,23.645), (7.19,23.275,7.48,23.565), (17.76,23.275,18.05,23.565), (23.3,23.275,23.73,23.645), (1.115,31.085,1.545,31.455), (22.495,31.085,22.925,31.455), (0.225,31.275,0.595,31.705), (3.065,31.275,3.435,31.705), (21.605,31.275,21.975,31.705), (24.445,31.275,24.815,31.705), (2.115,31.525,2.545,31.895), (23.495,31.525,23.925,31.895), (-0.12,32.16,3.78,32.4), (21.26,32.16,25.16,32.4), (-0.12,32.4,0.12,34.24), (21.26,32.4,21.5,34.24), (-0.12,34.24,29.24,34.48), (28.84,34.48,29.24,35.86)])
A(comparator, via, 4.115, 9.235, 0.15, 0.15, 8, 1, 2.38, 0)
A(comparator, via, 3.895, 9.79, 0.15, 0.15, 3, 1, 2.38, 0)
A(comparator, via, 15.795, 9.79, 0.15, 0.15, 3, 1, 2.38, 0)
A(comparator, via, 9.99, 18.605, 0.15, 0.15, 3, 1, 2.555, 0)
A(comparator, via, 6.1, 31.065, 0.15, 0.15, 4, 1, 4.23, 0)
A(comparator, via, 4.955, 32.455, 0.15, 0.15, 4, 1, 4.23, 0)
R(comparator, via, [(22.18,0.495,22.33,0.645), (21.305,0.715,21.455,0.865), (23.18,0.935,23.33,1.085), (1.005,0.96,1.155,1.11), (11.235,0.96,11.385,1.11), (5.15,1.555,5.3,1.705), (15.38,1.555,15.53,1.705), (11.035,10.08,11.185,10.23), (13.415,10.08,13.565,10.23), (4.705,18.605,4.855,18.755), (7.26,18.605,7.41,18.755), (17.83,18.605,17.98,18.755), (20.385,18.605,20.535,18.755), (4.485,19.415,4.635,19.565), (20.165,19.415,20.315,19.565), (6.865,20.995,7.015,21.145), (7.655,20.995,7.805,21.145), (9.595,20.995,9.745,21.145), (10.385,20.995,10.535,21.145), (12.325,20.995,12.475,21.145), (14.705,20.995,14.855,21.145), (15.495,20.995,15.645,21.145), (17.435,20.995,17.585,21.145), (18.225,20.995,18.375,21.145), (1.65,23.385,1.8,23.535), (23.44,23.385,23.59,23.535), (1.255,31.195,1.405,31.345), (22.635,31.195,22.785,31.345), (0.335,31.415,0.485,31.565), (21.715,31.415,21.865,31.565), (2.255,31.635,2.405,31.785), (23.635,31.635,23.785,31.785)])
A(comparator, met2_pin, -6, 35.26, 0.4, 0.6, 3, 1, 0.6, 0)
R(comparator, met2_pin, [(-3.6,35.26,-3.2,35.86), (28.24,35.26,28.64,35.86), (29.44,35.26,29.84,35.86), (30.04,35.26,30.44,35.86)])
A(comparator, met2, 3.975, 9.125, 0.43, 0.37, 8, 1, 2.38, 0)
A(comparator, met2, 3.785, 9.65, 0.37, 0.43, 3, 1, 2.38, 0)
A(comparator, met2, 15.685, 9.65, 0.37, 0.43, 3, 1, 2.38, 0)
A(comparator, met2, 9.85, 18.495, 0.43, 0.37, 3, 1, 2.555, 0)
A(comparator, met2, 9.04, 28.73, 0.44, 0.44, 3, 1, 4.23, 0)
A(comparator, met2, 4.88, 29.17, 0.3, 3.145, 4, 1, 4.23, 0)
A(comparator, met2, 5.955, 29.53, 0.44, 0.44, 4, 1, 4.23, 0)
A(comparator, met2, 6.025, 29.97, 0.3, 0.985, 4, 1, 4.23, 0)
A(comparator, met2, 5.96, 30.955, 0.43, 0.37, 4, 1, 4.23, 0)
A(comparator, met2, 4.845, 32.315, 0.37, 0.43, 4, 1, 4.23, 0)
R(comparator, met2, [(-6,-1,-5.6,29.53), (-5.4,-1,-5,2.9), (-4.8,-1,-4.4,3.7), (-3.6,-1,-3.2,13.07), (-3,-1,-2.6,13.87), (-2.4,-1,-2,4.5), (-1.8,-1,-1.4,5.3), (26.44,-1,26.84,7.7), (27.04,-1,27.44,4.5), (27.64,-1,28.04,14.67), (28.24,-1,28.64,13.07), (29.44,-1,29.84,6.1), (30.04,-1,30.44,6.9), (22.04,0.385,22.47,0.755), (21.195,0.575,21.565,1.005), (22.105,0.755,22.405,6.9), (0.895,0.82,1.265,1.25), (11.125,0.82,11.495,1.25), (23.04,0.825,23.47,1.195), (21.23,1.005,21.53,2.9), (23.105,1.195,23.405,6.1), (0.93,1.25,1.23,4.5), (11.16,1.25,11.46,4.5), (5.01,1.445,5.44,1.815), (15.24,1.445,15.67,1.815), (5.075,1.815,5.375,4.5), (15.305,1.815,15.605,4.5), (-5.42,2.9,-4.98,3.34), (21.16,2.9,21.6,3.34), (-5.4,3.34,-5,35.86), (-4.82,3.7,-4.38,4.14), (3.97,3.7,4.41,4.14), (6.35,3.7,6.79,4.14), (18.25,3.7,18.69,4.14), (20.63,3.7,21.07,4.14), (-4.8,4.14,-4.4,12.27), (4.04,4.14,4.34,9.125), (6.42,4.14,6.72,9.125), (18.32,4.14,18.62,9.125), (20.7,4.14,21,9.125), (-2.42,4.5,-1.98,4.94), (0.86,4.5,1.3,4.94), (5.005,4.5,5.445,4.94), (11.09,4.5,11.53,4.94), (15.235,4.5,15.675,4.94), (27.02,4.5,27.46,4.94), (-2.4,4.94,-2,14.67), (27.04,4.94,27.44,13.87), (-1.82,5.3,-1.38,5.74), (8.73,5.3,9.17,5.74), (13.49,5.3,13.93,5.74), (-1.8,5.74,-1.4,15.47), (8.8,5.74,9.1,9.125), (13.56,5.74,13.86,9.125), (23.035,6.1,23.475,6.54), (29.42,6.1,29.86,6.54), (29.44,6.54,29.84,16.27), (22.035,6.9,22.475,7.34), (30.02,6.9,30.46,7.34), (30.04,7.34,30.44,17.07), (11.11,7.7,11.55,8.14), (15.87,7.7,16.31,8.14), (26.42,7.7,26.86,8.14), (11.18,8.14,11.48,9.125), (15.94,8.14,16.24,9.125), (26.44,8.14,26.84,15.47), (10.925,9.94,11.295,10.37), (13.305,9.94,13.675,10.37), (3.82,10.08,4.12,13.87), (6.2,10.08,6.5,15.47), (8.58,10.08,8.88,13.07), (15.72,10.08,16.02,13.07), (18.1,10.08,18.4,15.47), (20.48,10.08,20.78,14.67), (10.96,10.37,11.26,15.47), (13.34,10.37,13.64,15.47), (-4.82,12.27,-4.38,12.71), (12.4,12.27,12.84,12.71), (-4.8,12.71,-4.4,35.86), (12.47,12.71,12.77,18.495), (-3.62,13.07,-3.18,13.51), (8.51,13.07,8.95,13.51), (15.65,13.07,16.09,13.51), (28.22,13.07,28.66,13.51), (-3.6,13.51,-3.2,24.73), (28.24,13.51,28.64,26.33), (-3.02,13.87,-2.58,14.31), (3.75,13.87,4.19,14.31), (14.955,13.87,15.395,14.31), (27.02,13.87,27.46,14.31), (-3,14.31,-2.6,25.53), (15.025,14.31,15.325,18.495), (27.04,14.31,27.44,24.73), (-2.42,14.67,-1.98,15.11), (9.845,14.67,10.285,15.11), (20.41,14.67,20.85,15.11), (27.62,14.67,28.06,15.11), (-2.4,15.11,-2,26.33), (9.915,15.11,10.215,18.495), (27.64,15.11,28.04,25.53), (-1.82,15.47,-1.38,15.91), (4.56,15.47,5,15.91), (6.13,15.47,6.57,15.91), (10.89,15.47,11.33,15.91), (13.27,15.47,13.71,15.91), (18.03,15.47,18.47,15.91), (20.24,15.47,20.68,15.91), (26.42,15.47,26.86,15.91), (-1.8,15.91,-1.4,27.13), (4.63,15.91,4.93,18.495), (20.31,15.91,20.61,18.495), (26.44,15.91,26.84,27.93), (17.685,16.27,18.125,16.71), (29.42,16.27,29.86,16.71), (17.755,16.71,18.055,18.495), (29.44,16.71,29.84,35.86), (7.115,17.07,7.555,17.51), (30.02,17.07,30.46,17.51), (7.185,17.51,7.485,18.495), (30.04,17.51,30.44,35.86), (4.565,18.495,4.995,18.865), (7.12,18.495,7.55,18.865), (17.69,18.495,18.12,18.865), (20.245,18.495,20.675,18.865), (4.375,19.275,4.745,19.705), (20.055,19.275,20.425,19.705), (4.41,19.705,4.71,24.73), (20.09,19.705,20.39,26.33), (6.755,20.855,7.125,21.285), (7.545,20.855,7.915,21.285), (9.485,20.855,9.855,21.285), (10.275,20.855,10.645,21.285), (12.215,20.855,12.585,21.285), (14.595,20.855,14.965,21.285), (15.385,20.855,15.755,21.285), (17.325,20.855,17.695,21.285), (18.115,20.855,18.485,21.285), (6.79,21.285,7.09,26.33), (7.58,21.285,7.88,28.73), (9.52,21.285,9.82,25.53), (10.31,21.285,10.61,24.73), (12.25,21.285,12.55,24.73), (14.63,21.285,14.93,25.53), (15.42,21.285,15.72,24.73), (17.36,21.285,17.66,24.73), (18.15,21.285,18.45,28.73), (1.51,23.275,1.94,23.645), (23.3,23.275,23.73,23.645), (1.575,23.645,1.875,25.53), (23.365,23.645,23.665,25.53), (-3.62,24.73,-3.18,25.17), (4.34,24.73,4.78,25.17), (10.24,24.73,10.68,25.17), (12.18,24.73,12.62,25.17), (15.35,24.73,15.79,25.17), (17.29,24.73,17.73,25.17), (27.02,24.73,27.46,25.17), (-3.6,25.17,-3.2,35.86), (27.04,25.17,27.44,35.86), (-3.02,25.53,-2.58,25.97), (1.505,25.53,1.945,25.97), (2.11,25.53,2.55,25.97), (9.45,25.53,9.89,25.97), (14.56,25.53,15,25.97), (23.295,25.53,23.93,25.97), (27.62,25.53,28.06,25.97), (-3,25.97,-2.6,35.86), (2.18,25.97,2.48,31.525), (23.56,25.97,23.86,31.525), (27.64,25.97,28.04,35.86), (-2.42,26.33,-1.98,26.77), (6.72,26.33,7.16,26.77), (20.02,26.33,20.46,26.77), (28.22,26.33,28.66,26.77), (-2.4,26.77,-2,35.86), (28.24,26.77,28.64,35.86), (-1.82,27.13,-1.38,27.57), (1.11,27.13,1.55,27.57), (21.57,27.13,22.01,27.57), (-1.8,27.57,-1.4,35.86), (1.18,27.57,1.48,31.085), (21.64,27.57,21.94,31.275), (0.19,27.93,0.63,28.37), (22.49,27.93,22.93,28.37), (26.42,27.93,26.86,28.37), (0.26,28.37,0.56,31.275), (22.56,28.37,22.86,31.085), (26.44,28.37,26.84,35.86), (4.81,28.73,5.25,29.17), (7.51,28.73,7.95,29.17), (18.08,28.73,18.52,29.17), (-6.02,29.53,-5.58,29.97), (-6,29.97,-5.6,35.86), (1.115,31.085,1.545,31.455), (22.495,31.085,22.925,31.455), (0.225,31.275,0.595,31.705), (21.605,31.275,21.975,31.705), (2.115,31.525,2.545,31.895), (23.495,31.525,23.925,31.895)])
A(comparator, via2, 9.16, 28.85, 0.2, 0.2, 3, 1, 4.23, 0)
A(comparator, via2, 6.075, 29.65, 0.2, 0.2, 4, 1, 4.23, 0)
R(comparator, via2, [(-5.3,3.02,-5.1,3.22), (21.28,3.02,21.48,3.22), (-4.7,3.82,-4.5,4.02), (4.09,3.82,4.29,4.02), (6.47,3.82,6.67,4.02), (18.37,3.82,18.57,4.02), (20.75,3.82,20.95,4.02), (-2.3,4.62,-2.1,4.82), (0.98,4.62,1.18,4.82), (5.125,4.62,5.325,4.82), (11.21,4.62,11.41,4.82), (15.355,4.62,15.555,4.82), (27.14,4.62,27.34,4.82), (-1.7,5.42,-1.5,5.62), (8.85,5.42,9.05,5.62), (13.61,5.42,13.81,5.62), (23.155,6.22,23.355,6.42), (29.54,6.22,29.74,6.42), (22.155,7.02,22.355,7.22), (30.14,7.02,30.34,7.22), (11.23,7.82,11.43,8.02), (15.99,7.82,16.19,8.02), (26.54,7.82,26.74,8.02), (-4.7,12.39,-4.5,12.59), (12.52,12.39,12.72,12.59), (-3.5,13.19,-3.3,13.39), (8.63,13.19,8.83,13.39), (15.77,13.19,15.97,13.39), (28.34,13.19,28.54,13.39), (-2.9,13.99,-2.7,14.19), (3.87,13.99,4.07,14.19), (15.075,13.99,15.275,14.19), (27.14,13.99,27.34,14.19), (-2.3,14.79,-2.1,14.99), (9.965,14.79,10.165,14.99), (20.53,14.79,20.73,14.99), (27.74,14.79,27.94,14.99), (-1.7,15.59,-1.5,15.79), (4.68,15.59,4.88,15.79), (6.25,15.59,6.45,15.79), (11.01,15.59,11.21,15.79), (13.39,15.59,13.59,15.79), (18.15,15.59,18.35,15.79), (20.36,15.59,20.56,15.79), (26.54,15.59,26.74,15.79), (17.805,16.39,18.005,16.59), (29.54,16.39,29.74,16.59), (7.235,17.19,7.435,17.39), (30.14,17.19,30.34,17.39), (-3.5,24.85,-3.3,25.05), (4.46,24.85,4.66,25.05), (10.36,24.85,10.56,25.05), (12.3,24.85,12.5,25.05), (15.47,24.85,15.67,25.05), (17.41,24.85,17.61,25.05), (27.14,24.85,27.34,25.05), (-2.9,25.65,-2.7,25.85), (1.625,25.65,1.825,25.85), (2.23,25.65,2.43,25.85), (9.57,25.65,9.77,25.85), (14.68,25.65,14.88,25.85), (23.51,25.65,23.71,25.85), (27.74,25.65,27.94,25.85), (-2.3,26.45,-2.1,26.65), (6.84,26.45,7.04,26.65), (20.14,26.45,20.34,26.65), (28.34,26.45,28.54,26.65), (-1.7,27.25,-1.5,27.45), (1.23,27.25,1.43,27.45), (21.69,27.25,21.89,27.45), (0.31,28.05,0.51,28.25), (22.61,28.05,22.81,28.25), (26.54,28.05,26.74,28.25), (4.93,28.85,5.13,29.05), (7.63,28.85,7.83,29.05), (18.2,28.85,18.4,29.05), (-5.9,29.65,-5.7,29.85)])
R(comparator, met3, [(-5.45,2.87,25.29,3.37), (-4.85,3.67,25.29,4.17), (-2.45,4.47,5.475,4.97), (11.06,4.47,27.49,4.97), (-1.85,5.27,13.96,5.77), (-0.25,6.07,29.89,6.57), (-0.25,6.87,30.49,7.37), (11.08,7.67,26.89,8.17), (-4.85,12.24,25.29,12.74), (-3.65,13.04,8.98,13.54), (15.62,13.04,28.69,13.54), (-3.05,13.84,4.22,14.34), (14.925,13.84,27.49,14.34), (-2.45,14.64,10.315,15.14), (20.38,14.64,28.09,15.14), (-1.85,15.44,11.36,15.94), (13.24,15.44,26.89,15.94), (-0.25,16.24,29.89,16.74), (-0.25,17.04,30.49,17.54), (-3.65,24.7,4.81,25.2), (9.22,24.7,15.82,25.2), (17.26,24.7,27.49,25.2), (-3.05,25.5,9.92,26), (14.53,25.5,28.09,26), (-2.45,26.3,7.19,26.8), (19.99,26.3,28.69,26.8), (-1.85,27.1,22.04,27.6), (0.16,27.9,26.89,28.4), (4.78,28.7,20.26,29.2), (-6.05,29.5,25.29,30)])
comparator.add(gdstk.Reference(sky130_fd_pr__pfet_01v8_, (18.865,32.53)))
comparator.add(gdstk.Reference(c_sky130_fd_pr__pfet_01v8_, (23.21,31.49), rotation=pi/2))
comparator.add(gdstk.Reference(sky130_fd_pr__pfet_01v8_, (6.175,32.53)))
comparator.add(gdstk.Reference(sky130_fd_pr__pfet_01v8_, (10.405,32.53)))
comparator.add(gdstk.Reference(sky130_fd_pr__pfet_01v8_, (14.635,32.53)))
comparator.add(gdstk.Reference(c_sky130_fd_pr__pfet_01v8_, (1.83,31.49), rotation=pi/2))
comparator.add(gdstk.Reference(c_sky130_fd_pr__pfet_01v8__, (15.175,21.07)))
comparator.add(gdstk.Reference(c_sky130_fd_pr__pfet_01v8__, (17.905,21.07)))
comparator.add(gdstk.Reference(c_sky130_fd_pr__pfet_01v8___, (20.46,19.49)))
comparator.add(gdstk.Reference(c_sky130_fd_pr__pfet_01v8____, (23.515,21.07)))
comparator.add(gdstk.Reference(sky130_fd_pr__nfet_01v8_, (18.47,9.865)))
comparator.add(gdstk.Reference(sky130_fd_pr__nfet_01v8_, (16.09,9.865)))
comparator.add(gdstk.Reference(sky130_fd_pr__nfet_01v8_, (20.85,9.865)))
comparator.add(gdstk.Reference(c_sky130_fd_pr__pfet_01v8___, (4.78,19.49)))
comparator.add(gdstk.Reference(c_sky130_fd_pr__pfet_01v8__, (7.335,21.07)))
comparator.add(gdstk.Reference(c_sky130_fd_pr__pfet_01v8__, (10.065,21.07)))
comparator.add(gdstk.Reference(c_sky130_fd_pr__pfet_01v8_____, (12.62,21.07)))
comparator.add(gdstk.Reference(c_sky130_fd_pr__nfet_01v8_, (13.71,10.155)))
comparator.add(gdstk.Reference(c_sky130_fd_pr__nfet_01v8_, (11.33,10.155)))
comparator.add(gdstk.Reference(sky130_fd_pr__nfet_01v8_, (8.95,9.865)))
comparator.add(gdstk.Reference(sky130_fd_pr__nfet_01v8_, (6.57,9.865)))
comparator.add(gdstk.Reference(sky130_fd_pr__nfet_01v8_, (4.19,9.865)))
comparator.add(gdstk.Reference(c_sky130_fd_pr__pfet_01v8____, (1.725,21.07)))
comparator.add(gdstk.Reference(c_sky130_fd_pr__nfet_01v8__, (22.755,0.79), rotation=pi/2))
comparator.add(gdstk.Reference(c_sky130_fd_pr__nfet_01v8___, (15.455,1.035)))
comparator.add(gdstk.Reference(c_sky130_fd_pr__nfet_01v8___, (5.225,1.035)))
comparator.add(gdstk.Label('opb', (-3.4,35.56), layer=69, texttype=5))
comparator.add(gdstk.Label('VGND', (-4,35.56), layer=68, texttype=5))
comparator.add(gdstk.Label('clkb', (-4.6,35.56), layer=69, texttype=5))
comparator.add(gdstk.Label('smpt', (-5.2,35.56), layer=69, texttype=5))
comparator.add(gdstk.Label('pbias', (-5.8,35.56), layer=69, texttype=5))
comparator.add(gdstk.Label('onb', (28.44,35.56), layer=69, texttype=5))
comparator.add(gdstk.Label('VDPWR', (29.04,35.56), layer=68, texttype=5))
comparator.add(gdstk.Label('inn', (29.64,35.56), layer=69, texttype=5))
comparator.add(gdstk.Label('inp', (30.24,35.56), layer=69, texttype=5))

lib.write_gds('comparator.gds')
